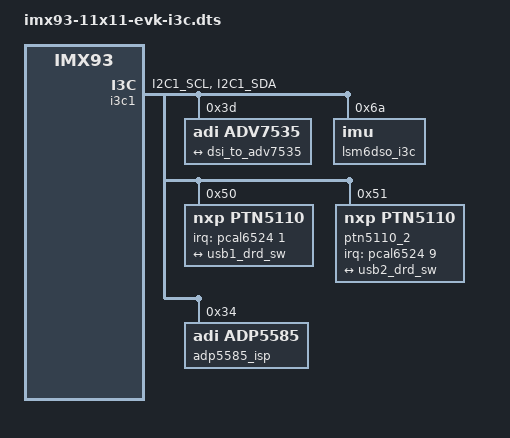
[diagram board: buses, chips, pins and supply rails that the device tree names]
// SPDX-License-Identifier: (GPL-2.0+ OR MIT)
/*
 * Copyright 2022 NXP
 */

#include "imx93-11x11-evk.dts"

/{
	aliases {
		/delete-property/ i2c0;
	};
};

/delete-node/&lpi2c1;

/*
 * When add i2c devices on i3c bus, the reg property should be changed to:
 *         reg = <0x1a 0x00 0x50>;
 * The first byte is still the address of the i2c device;
 * The second byte is always 0x00;
 * The third byte is the communication speed of this i2c device;
 *         0x20 means 1MHz(FM+);
 *         0x50 means 400KHz(FM);
 * In compatibility mode, I3C will use the slowest setting of all targets
 * for i2c communication.
 */
&i3c1 {
	pinctrl-names = "default", "sleep";
	pinctrl-0 = <&pinctrl_i3c1>;
	pinctrl-1 = <&pinctrl_i3c1>;
	i2c-scl-hz = <400000>;
	status = "okay";

	adv7535: hdmi@3d {
		compatible = "adi,adv7535";
		reg = <0x3d 0x00 0x50>;
		adi,addr-cec = <0x3b>;
		adi,dsi-lanes = <4>;
		status = "okay";

		port {
			adv7535_to_dsi: endpoint {
				remote-endpoint = <&dsi_to_adv7535>;
			};
		};
	};

	/* i3c device with static i2c address*/
	lsm6dso_i3c: imu@6a,208006c0000 {
		reg = <0x6a 0x208 0x6c0000>;
		assigned-address = <0x6a>;
	};

	/* i2c device */
	ptn5110: tcpc@50 {
		compatible = "nxp,ptn5110";
		reg = <0x50 0x00 0x50>;
		interrupt-parent = <&pcal6524>;
		interrupts = <1 IRQ_TYPE_EDGE_FALLING>;
		status = "okay";

		port {
			typec1_dr_sw: endpoint {
				remote-endpoint = <&usb1_drd_sw>;
			};
		};

		typec1_con: connector {
			compatible = "usb-c-connector";
			label = "USB-C";
			power-role = "dual";
			data-role = "dual";
			try-power-role = "sink";
			source-pdos = <PDO_FIXED(5000, 3000, PDO_FIXED_USB_COMM)>;
			sink-pdos = <PDO_FIXED(5000, 3000, PDO_FIXED_USB_COMM)
				     PDO_VAR(5000, 20000, 3000)>;
			op-sink-microwatt = <15000000>;
			self-powered;
		};
	};

	ptn5110_2: tcpc@51 {
		compatible = "nxp,ptn5110";
		reg = <0x51 0x00 0x50>;
		interrupt-parent = <&pcal6524>;
		interrupts = <9 IRQ_TYPE_EDGE_FALLING>;
		status = "okay";

		port {
			typec2_dr_sw: endpoint {
				remote-endpoint = <&usb2_drd_sw>;
			};
		};

		typec2_con: connector {
			compatible = "usb-c-connector";
			label = "USB-C";
			power-role = "dual";
			data-role = "dual";
			try-power-role = "sink";
			source-pdos = <PDO_FIXED(5000, 3000, PDO_FIXED_USB_COMM)>;
			sink-pdos = <PDO_FIXED(5000, 3000, PDO_FIXED_USB_COMM)
				     PDO_VAR(5000, 20000, 3000)>;
			op-sink-microwatt = <15000000>;
			self-powered;
		};
	};

	adp5585_isp: mfd-isp@34 {
		compatible = "adi,adp5585";
		reg = <0x34 0x00 0x50>;
		status = "okay";

		adp5585gpio_isp: gpio-isp@34 {
			compatible = "adp5585-gpio";
			gpio-controller;
			#gpio-cells = <2>;
		};
	};
};

&iomuxc {
	pinctrl_i3c1: i3c1grp {
		fsl,pins = <
			MX93_PAD_I2C1_SCL__I3C1_SCL	0x4000019e
			MX93_PAD_I2C1_SDA__I3C1_SDA	0x4000019e
		>;
	};
};
